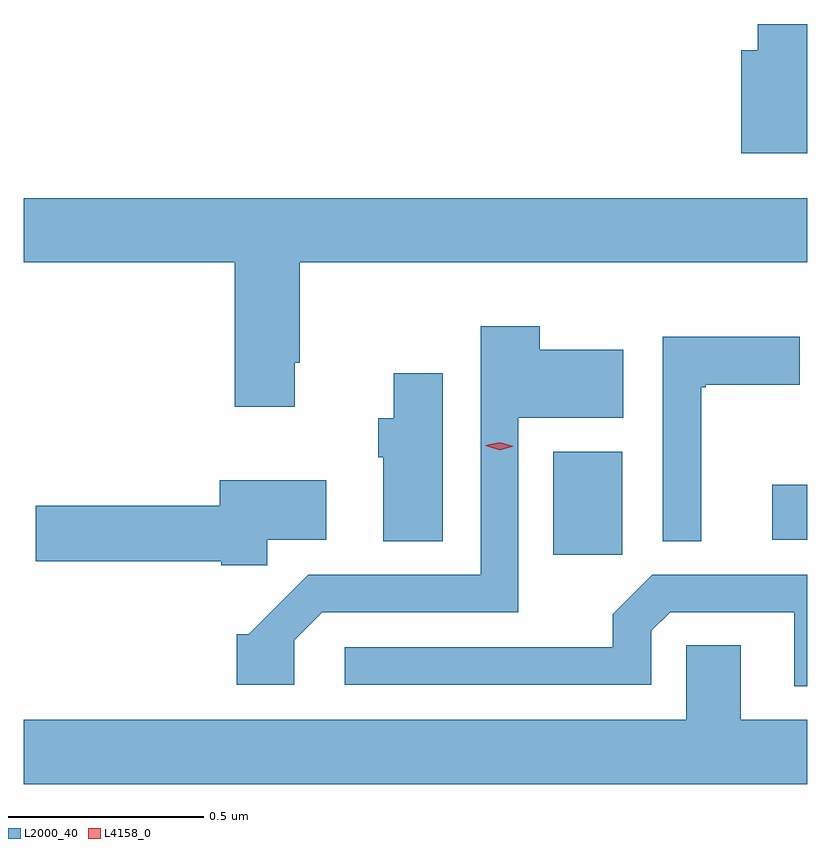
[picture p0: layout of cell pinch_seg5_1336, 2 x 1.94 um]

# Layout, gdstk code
import gdstk
lib = gdstk.Library(unit=1e-6, precision=1e-09)
def R(c, l, rs):  # rectangles x0, y0, x1, y1
    for r in rs: c.add(gdstk.rectangle(r[:2], r[2:], *l))
def P(c, l, *ps):  # polygons
    for p in ps: c.add(gdstk.Polygon(p, *l))
L2000_40 = (2000, 40)
L4158_0 = (4158, 0)

pinch_seg5_1336 = lib.new_cell('pinch_seg5_1336')
R(pinch_seg5_1336, L2000_40, [(421.958,836.033,422.134,836.296), (422.517,836.072,422.606,836.212)])
P(pinch_seg5_1336, L2000_40, [(422.606,837.389),(422.48,837.389),(422.48,837.322),(422.438,837.322),(422.438,837.059),(422.606,837.059)],
  [(421.297,836.524),(421.31,836.524),(421.31,836.78),(422.606,836.78),(422.606,836.944),(420.606,836.944),(420.606,836.78),(421.145,836.78),(421.145,836.412),(421.297,836.412)],
  [(421.296,835.815),(421.368,835.887),(421.869,835.887),(421.869,836.384),(422.137,836.384),(422.137,836.557),(421.923,836.557),(421.923,836.617),(421.773,836.617),(421.773,835.983),(421.332,835.983),(421.18,835.831),(421.149,835.831),(421.149,835.701),(421.296,835.701)],
  [(422.336,836.461),(422.347,836.461),(422.347,836.468),(422.587,836.468),(422.587,836.59),(422.238,836.59),(422.238,836.068),(422.336,836.068)],
  [(421.675,836.497),(421.55,836.497),(421.55,836.382),(421.511,836.382),(421.511,836.282),(421.523,836.282),(421.523,836.068),(421.675,836.068)],
  [(421.227,836.072),(421.378,836.072),(421.378,836.224),(421.106,836.224),(421.106,836.159),(420.636,836.159),(420.636,836.017),(421.11,836.017),(421.11,836.007),(421.227,836.007)],
  [(422.606,835.983),(422.211,835.983),(422.11,835.881),(422.11,835.797),(421.425,835.797),(421.425,835.701),(422.208,835.701),(422.208,835.839),(422.256,835.887),(422.573,835.887),(422.573,835.698),(422.606,835.698)],
  [(422.606,835.612),(422.437,835.612),(422.437,835.802),(422.298,835.802),(422.298,835.612),(420.606,835.612),(420.606,835.448),(422.606,835.448)])
P(pinch_seg5_1336, L4158_0, [(421.821,836.301),(421.785,836.312),(421.785,836.312),(421.785,836.313),(421.821,836.321),(421.857,836.31),(421.857,836.31),(421.857,836.31)])

lib.write_gds('pinch_seg5_1336.gds')
